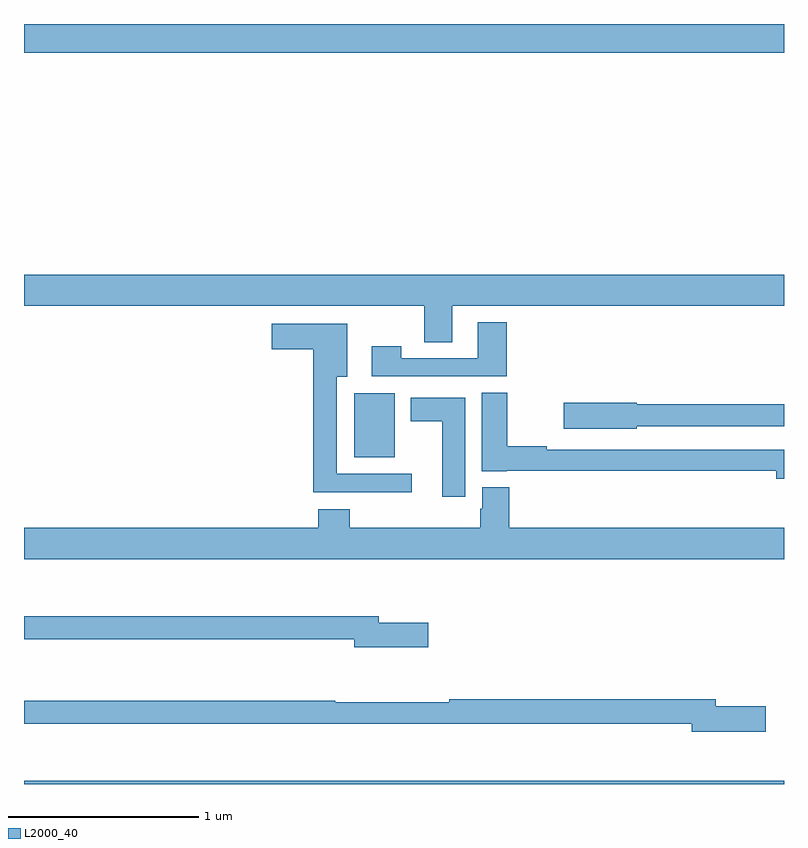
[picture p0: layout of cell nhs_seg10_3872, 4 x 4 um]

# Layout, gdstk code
import gdstk
lib = gdstk.Library(unit=1e-6, precision=1e-09)
def R(c, l, rs):  # rectangles x0, y0, x1, y1
    for r in rs: c.add(gdstk.rectangle(r[:2], r[2:], *l))
def P(c, l, *ps):  # polygons
    for p in ps: c.add(gdstk.Polygon(p, *l))
L2000_40 = (2000, 40)

nhs_seg10_3872 = lib.new_cell('nhs_seg10_3872')
R(nhs_seg10_3872, L2000_40, [(325,1264.5,329,1264.516), (326.738,1266.221,326.95,1266.556), (325,1268.348,329,1268.5)])
P(nhs_seg10_3872, L2000_40, [(327.253,1267.016),(329,1267.016),(329,1267.18),(325,1267.18),(325,1267.016),(327.106,1267.016),(327.106,1266.826),(327.253,1266.826)],
  [(327.542,1266.931),(327.389,1266.931),(327.389,1266.741),(326.985,1266.741),(326.985,1266.805),(326.829,1266.805),(326.829,1266.645),(327.542,1266.645)],
  [(327.04,1266.132),(326.647,1266.132),(326.647,1266.644),(326.701,1266.644),(326.701,1266.922),(326.304,1266.922),(326.304,1266.788),(326.522,1266.788),(326.522,1266.035),(327.04,1266.035)],
  [(329,1266.258),(327.752,1266.258),(327.752,1266.278),(327.544,1266.278),(327.544,1266.56),(327.41,1266.56),(327.41,1266.146),(327.54,1266.146),(327.54,1266.15),(328.958,1266.15),(328.958,1266.107),(329,1266.107)],
  [(327.322,1266.532),(327.035,1266.532),(327.035,1266.41),(327.2,1266.41),(327.2,1266.012),(327.322,1266.012)],
  [(328.224,1266.384),(329,1266.384),(329,1266.5),(328.224,1266.5),(328.224,1266.506),(327.84,1266.506),(327.84,1266.371),(328.224,1266.371)],
  [(329,1265.848),(327.554,1265.848),(327.554,1266.061),(327.413,1266.061),(327.413,1265.949),(327.401,1265.949),(327.401,1265.848),(326.714,1265.848),(326.714,1265.947),(326.549,1265.947),(326.549,1265.848),(325,1265.848),(325,1265.684),(329,1265.684)],
  [(327.127,1265.349),(326.866,1265.349),(326.866,1265.383),(325,1265.383),(325,1265.262),(326.738,1265.262),(326.738,1265.219),(327.127,1265.219)],
  [(328.903,1264.91),(328.642,1264.91),(328.642,1264.946),(327.238,1264.946),(327.238,1264.931),(326.638,1264.931),(326.638,1264.939),(325,1264.939),(325,1264.818),(328.514,1264.818),(328.514,1264.775),(328.903,1264.775)])

lib.write_gds('nhs_seg10_3872.gds')
